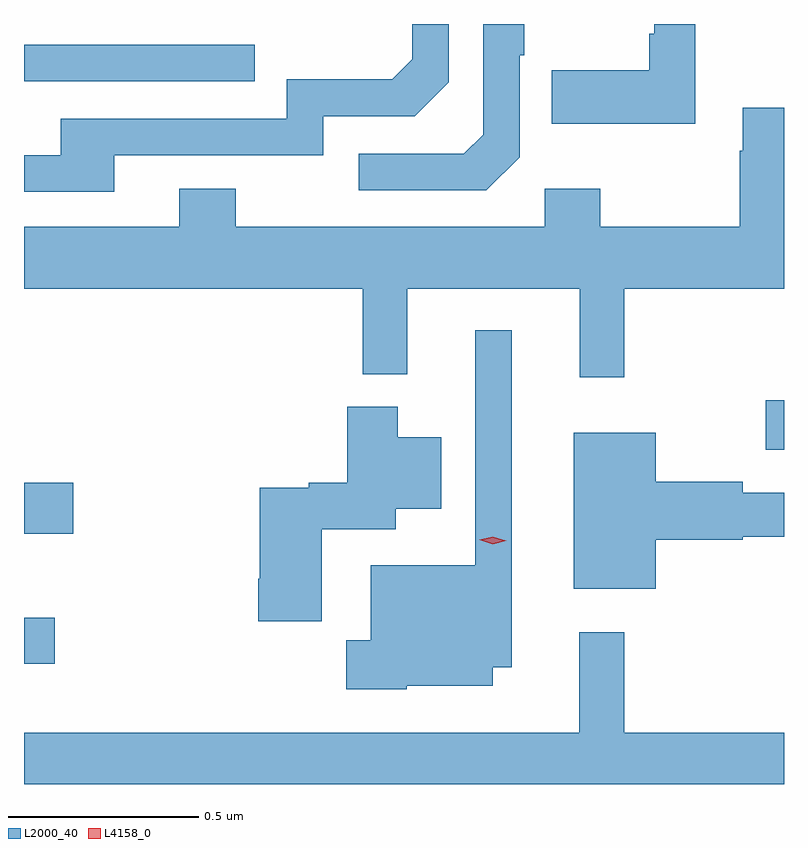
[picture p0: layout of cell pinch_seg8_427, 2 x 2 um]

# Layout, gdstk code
import gdstk
lib = gdstk.Library(unit=1e-6, precision=1e-09)
def R(c, l, rs):  # rectangles x0, y0, x1, y1
    for r in rs: c.add(gdstk.rectangle(r[:2], r[2:], *l))
def P(c, l, *ps):  # polygons
    for p in ps: c.add(gdstk.Polygon(p, *l))
L2000_40 = (2000, 40)
L4158_0 = (4158, 0)

pinch_seg8_427 = lib.new_cell('pinch_seg8_427')
R(pinch_seg8_427, L2000_40, [(246.412,1132.829,246.493,1132.951), (246.412,1133.171,246.541,1133.306), (248.364,1133.393,248.412,1133.523), (246.412,1134.363,247.019,1134.459)])
P(pinch_seg8_427, L2000_40, [(248.179,1134.513),(248.07,1134.513),(248.07,1134.487),(248.058,1134.487),(248.058,1134.391),(247.801,1134.391),(247.801,1134.251),(248.179,1134.251)],
  [(247.716,1134.162),(247.716,1134.431),(247.729,1134.431),(247.729,1134.513),(247.62,1134.513),(247.62,1134.222),(247.569,1134.171),(247.293,1134.171),(247.293,1134.075),(247.629,1134.075)],
  [(246.649,1134.168),(247.2,1134.168),(247.2,1134.27),(247.44,1134.27),(247.53,1134.36),(247.53,1134.513),(247.434,1134.513),(247.434,1134.42),(247.381,1134.367),(247.104,1134.367),(247.104,1134.264),(246.509,1134.264),(246.509,1134.168),(246.412,1134.168),(246.412,1134.072),(246.649,1134.072)],
  [(247.991,1133.816),(248.412,1133.816),(248.412,1134.292),(248.303,1134.292),(248.303,1134.179),(248.296,1134.179),(248.296,1133.98),(247.929,1133.98),(247.929,1134.079),(247.782,1134.079),(247.782,1133.98),(246.969,1133.98),(246.969,1134.079),(246.821,1134.079),(246.821,1133.98),(246.412,1133.98),(246.412,1133.816),(247.303,1133.816),(247.303,1133.591),(247.421,1133.591),(247.421,1133.816),(247.874,1133.816),(247.874,1133.583),(247.991,1133.583)],
  [(247.419,1132.772),(247.645,1132.772),(247.645,1132.82),(247.696,1132.82),(247.696,1133.707),(247.599,1133.707),(247.599,1133.089),(247.325,1133.089),(247.325,1132.891),(247.26,1132.891),(247.26,1132.763),(247.419,1132.763)],
  [(247.196,1133.183),(247.39,1133.183),(247.39,1133.237),(247.51,1133.237),(247.51,1133.425),(247.396,1133.425),(247.396,1133.506),(247.262,1133.506),(247.262,1133.306),(247.161,1133.306),(247.161,1133.293),(247.033,1133.293),(247.033,1133.053),(247.028,1133.053),(247.028,1132.941),(247.196,1132.941)],
  [(248.074,1133.156),(248.304,1133.156),(248.304,1133.164),(248.412,1133.164),(248.412,1133.28),(248.304,1133.28),(248.304,1133.308),(248.074,1133.308),(248.074,1133.437),(247.859,1133.437),(247.859,1133.027),(248.074,1133.027)],
  [(248.412,1132.648),(247.991,1132.648),(247.991,1132.912),(247.873,1132.912),(247.873,1132.648),(246.412,1132.648),(246.412,1132.513),(248.412,1132.513)])
P(pinch_seg8_427, L4158_0, [(247.645,1133.144),(247.61,1133.156),(247.61,1133.156),(247.61,1133.156),(247.646,1133.164),(247.681,1133.153),(247.681,1133.153),(247.681,1133.153)])

lib.write_gds('pinch_seg8_427.gds')
